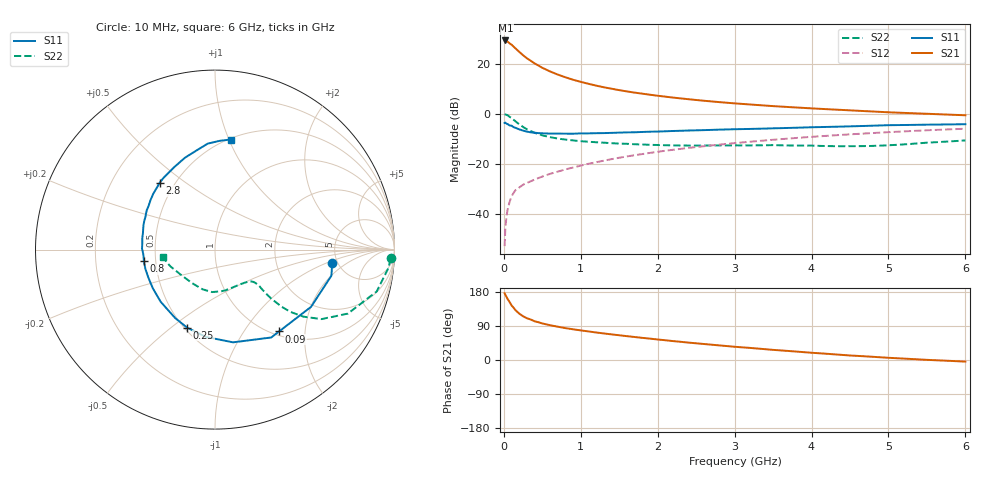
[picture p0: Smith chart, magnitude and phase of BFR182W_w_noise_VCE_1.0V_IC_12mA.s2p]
! Infineon Technologies  Discrete & RF Semiconductors
! BFR182W
! VCE =  1.0 V,  IC =  12 mA
! Common Emitter S-Parameters:  Jan 2017
# GHz  S  MA  R  50
!  f  S11  S21  S12  S22
! GHz  MAG  ANG  MAG  ANG  MAG  ANG  MAG  ANG
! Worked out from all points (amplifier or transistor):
!   77 points, 10 MHz to 6 GHz, reference 50 ohm
!   highest |S21| = 29.2 dB at 20 MHz (marker M1)
!   |S21| within 3 dB of that: start of sweep to 146 MHz
!   unconditionally stable (mu >= 1): 800.5 MHz to 2.787 GHz
!   at 130 MHz: K = 0.35, MSG = 29.0 dB, |S12| = -31.4 dB
!   at 2.2 GHz: K = 1.04, MAG = 9.2 dB, |S12| = -14.4 dB
!   at 6 GHz: K = 0.90, MSG = 2.7 dB, |S12| = -6.0 dB
!   lowest NFmin = 1.14 dB at 450 MHz
!   S11 on the Smith chart (normalised r, x): 10 MHz: 4.50, -1.20; 90 MHz: 1.07, -1.47; 250 MHz: 0.52, -0.57; 800 MHz: 0.43, -0.07; 2.8 GHz: 0.41, +0.40; 6 GHz: 0.51, +1.01
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0.01  0.6572 -6.6  28.7 176.0  0.0023 88.6  0.9794 -2.9
0.02  0.6647 -12.6  28.89 172.1  0.0053 90.7  0.9715 -6.1
0.05  0.623 -30.8  27.33 160.5  0.0125 79.1  0.9308 -14.5
0.09  0.5791 -51.9  24.36 147.7  0.0205 69.3  0.8411 -23.2
0.1  0.5813 -57.4  23.83 144.1  0.0225 68.0  0.8221 -25.7
0.15  0.5263 -79.0  20.2 131.7  0.0299 61.4  0.7092 -33.1
0.2  0.4892 -96.0  17.11 122.5  0.0339 58.8  0.6177 -37.2
0.25  0.4618 -109.7  14.69 115.4  0.0386 56.8  0.5466 -39.5
0.3  0.441 -120.3  12.74 110.2  0.0418 57.2  0.4904 -40.6
0.4  0.4196 -136.2  10.06 102.2  0.0487 57.7  0.4174 -41.1
0.5  0.408 -148.2  8.236 96.5  0.0561 59.5  0.3717 -40.7
0.6  0.4028 -157.1  6.984 91.8  0.0634 60.3  0.3417 -40.1
0.8  0.4015 -170.6  5.335 84.2  0.0779 63.1  0.3059 -39.4
0.9  0.4 -176.0  4.759 81.0  0.0849 63.8  0.2944 -39.5
1.1  0.4066 174.9  3.952 75.4  0.1008 64.5  0.2775 -40.3
1.5  0.4211 161.1  2.956 65.3  0.133 64.7  0.2548 -44.9
2.1  0.4474 144.7  2.192 52.1  0.1832 62.3  0.2362 -57.5
2.8  0.4829 129.7  1.707 38.5  0.2427 57.8  0.2342 -76.2
3.1  0.4949 123.8  1.571 33.4  0.2684 55.4  0.2344 -84.0
4.1  0.5424 106.6  1.257 17.8  0.3552 46.5  0.2292 -110.7
5.1  0.5943 92.6  1.055 4.8  0.4374 36.5  0.2401 -146.8
6  0.6195 81.9  0.933 -4.3  0.5038 27.1  0.2945 -171.5
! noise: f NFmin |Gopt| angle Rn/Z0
0.45  1.14  0.05  71  0.15
0.9  1.22  0.06  102  0.15
1.9  1.71  0.21  -156  0.14
2.4  1.97  0.2  -143  0.21
